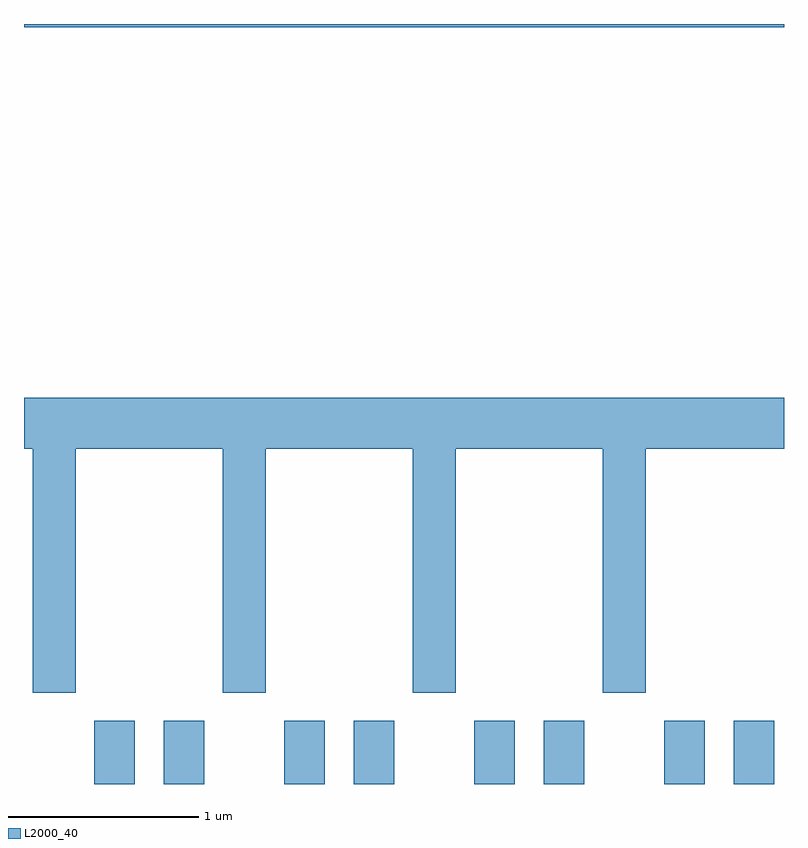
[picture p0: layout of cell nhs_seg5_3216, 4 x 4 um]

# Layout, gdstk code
import gdstk
lib = gdstk.Library(unit=1e-6, precision=1e-09)
def R(c, l, rs):  # rectangles x0, y0, x1, y1
    for r in rs: c.add(gdstk.rectangle(r[:2], r[2:], *l))
def P(c, l, *ps):  # polygons
    for p in ps: c.add(gdstk.Polygon(p, *l))
L2000_40 = (2000, 40)

nhs_seg5_3216 = lib.new_cell('nhs_seg5_3216')
R(nhs_seg5_3216, L2000_40, [(279.981,1526.072,280.194,1526.404), (280.346,1526.072,280.559,1526.404), (280.981,1526.072,281.194,1526.404), (281.346,1526.072,281.559,1526.404), (281.981,1526.072,282.194,1526.404), (282.346,1526.072,282.559,1526.404), (282.981,1526.072,283.194,1526.404), (283.346,1526.072,283.559,1526.404), (279.611,1530.056,283.611,1530.072)])
P(nhs_seg5_3216, L2000_40, [(279.884,1527.836),(280.656,1527.836),(280.656,1526.551),(280.884,1526.551),(280.884,1527.836),(281.656,1527.836),(281.656,1526.551),(281.884,1526.551),(281.884,1527.836),(282.656,1527.836),(282.656,1526.551),(282.884,1526.551),(282.884,1527.836),(283.611,1527.836),(283.611,1528.104),(279.611,1528.104),(279.611,1527.836),(279.656,1527.836),(279.656,1526.551),(279.884,1526.551)])

lib.write_gds('nhs_seg5_3216.gds')
